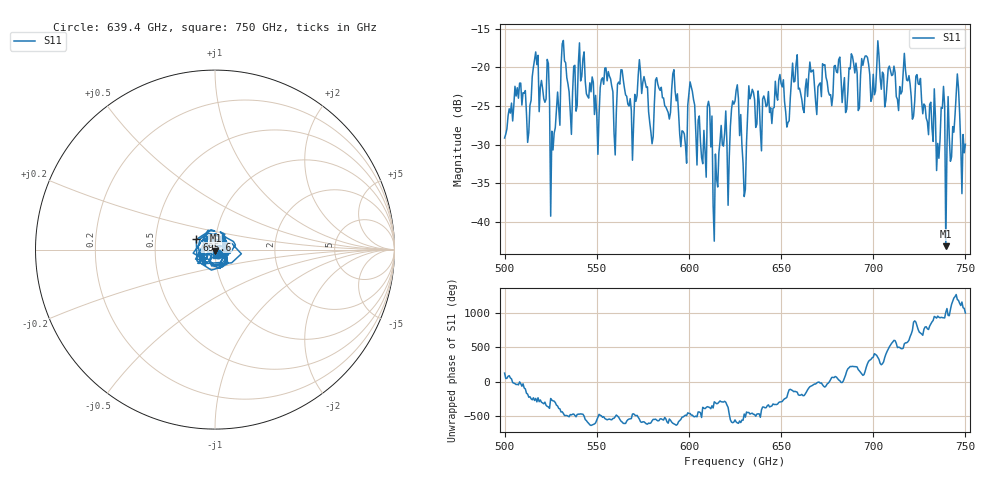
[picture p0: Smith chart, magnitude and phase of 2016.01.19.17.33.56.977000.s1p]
!Created with skrf (http://scikit-rf.org).
# GHz S RI R 50.0
!freq ReS11 ImS11
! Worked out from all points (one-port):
!   401 points, 500 GHz to 750 GHz, reference 50 ohm
!   lowest |S11| = -43.2 dB at 739.4 GHz (marker M1), VSWR 1.01, Z = 50.2 - j0.666 ohm
!   |S11| at or under -10 dB: start of sweep to end of sweep
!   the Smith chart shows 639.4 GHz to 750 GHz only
!   S11 on the Smith chart (normalised r, x): 639.4 GHz: 1.04, -0.05; 695.6 GHz: 0.81, +0.09; 750 GHz: 1.01, -0.06
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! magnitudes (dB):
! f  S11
! 500 GHz  -29.1
! 506.9 GHz  -22.6
! 513.1 GHz  -28.4
! 516.9 GHz  -18.0
! 526.2 GHz  -30.7
! 531.2 GHz  -17.0
! 550 GHz  -26.1
! 562.5 GHz  -22.2
! 568.8 GHz  -25.5
! 573.8 GHz  -20.6
! 579.4 GHz  -28.4
! 593.8 GHz  -23.4
! 597.5 GHz  -28.6
! 601.2 GHz  -22.5
! 608.1 GHz  -28.2
! 611.2 GHz  -25.2
! 614.4 GHz  -31.2
! 625 GHz  -24.4
! 630 GHz  -36.7
! 633.8 GHz  -23.6
! 639.4 GHz  -30.8
! 656.2 GHz  -19.4
! 687.5 GHz  -20.2
! 695.6 GHz  -18.5
! 718.8 GHz  -21.7
! 739.4 GHz  -43.2
! 745.6 GHz  -20.9
! 750 GHz  -30.0
